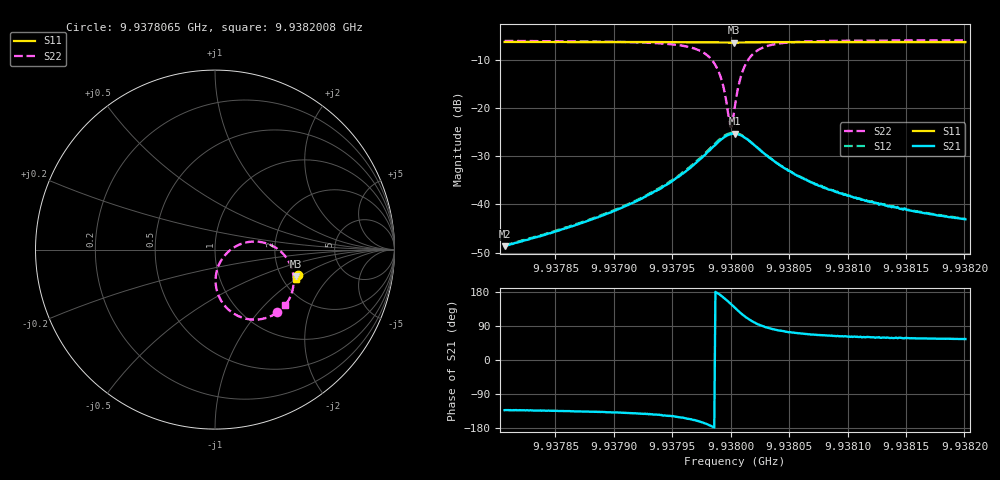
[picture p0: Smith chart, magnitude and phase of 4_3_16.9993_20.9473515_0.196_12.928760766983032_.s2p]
#  HZ  S  RI  R  50.00
! Rohde & Schwarz Vector Network Analyzer
! Rohde-Schwarz,ZNB20-2Port,1311601062101988,3.16
! Created: UTC 3/20/2024, 10:52:13 PM
! freq[Hz]  re:S11  im:S11  re:S21  im:S21  re:S12  im:S12  re:S22  im:S22
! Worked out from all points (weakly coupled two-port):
!   401 points, 9.9378065 GHz to 9.9382008 GHz, reference 50 ohm
!   highest |S21| = -25.33 dB at 9.9380037 GHz (marker M1); lowest = -48.7 dB at 9.9378065 GHz (marker M2)
!   lowest |S11| = -6.5 dB at 9.9380027 GHz (marker M3), VSWR 2.80, Z = 120 - j45.6 ohm
!   |S11| at or under -10 dB: nowhere
!   |S22| runs from -23.9 to -6.0 dB; largest |S21 - S12| = 0.0032
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9.9378065e9  0.4607 -0.1388  -0.00249 -0.00273  -0.00257 -0.00279  0.348 -0.3493
9.93787255e9  0.4588 -0.1434  -0.00459 -0.00449  -0.00475 -0.0045  0.3258 -0.3632
9.93791001e9  0.4576 -0.1461  -0.00733 -0.00624  -0.00755 -0.00626  0.3 -0.3756
9.9379386e9  0.4564 -0.1482  -0.0116 -0.00828  -0.0121 -0.00811  0.2604 -0.3868
9.9379662e9  0.4546 -0.1507  -0.0224 -0.00975  -0.0233 -0.00949  0.171 -0.3846
9.93798099e9  0.4525 -0.1513  -0.035 -0.00545  -0.0364 -0.00473  0.0736 -0.3328
9.93798691e9  0.4515 -0.1511  -0.0415 0.000138  -0.043 0.00166  0.0291 -0.2753
9.93799085e9  0.4507 -0.1508  -0.0455 0.00636  -0.0469 0.00851  0.00775 -0.2174
9.93799381e9  0.4501 -0.1503  -0.0474 0.0128  -0.0483 0.015  0.00339 -0.1641
9.93799874e9  0.45 -0.149  -0.0466 0.0249  -0.0468 0.0279  0.0308 -0.0664
9.93799972e9  0.4501 -0.1488  -0.0458 0.0274  -0.0455 0.0304  0.0425 -0.0479
9.93800071e9  0.45 -0.1485  -0.0446 0.0299  -0.0443 0.0328  0.056 -0.0306
9.93800268e9  0.4501 -0.148  -0.0417 0.0344  -0.0409 0.0374  0.088 -0.000174
9.93800366e9  0.4503 -0.1478  -0.04 0.0365  -0.0389 0.0392  0.1059 0.012
9.93800662e9  0.451 -0.1474  -0.0334 0.0412  -0.032 0.0436  0.1647 0.0377
9.93801057e9  0.4518 -0.1468  -0.0242 0.0443  -0.0224 0.0458  0.2419 0.044
9.93801451e9  0.4528 -0.1471  -0.0158 0.0443  -0.0139 0.045  0.307 0.0273
9.93802042e9  0.4539 -0.1477  -0.00614 0.0404  -0.00479 0.0408  0.3734 -0.0174
9.93803718e9  0.4551 -0.1501  0.00453 0.0276  0.00537 0.0276  0.435 -0.1329
9.93806971e9  0.4547 -0.1536  0.00658 0.0154  0.00697 0.0154  0.4308 -0.2315
9.93813576e9  0.453 -0.1585  0.00508 0.0082  0.00523 0.00818  0.4056 -0.2889
9.93820082e9  0.4511 -0.1631  0.00399 0.00576  0.00417 0.00575  0.3914 -0.3094
